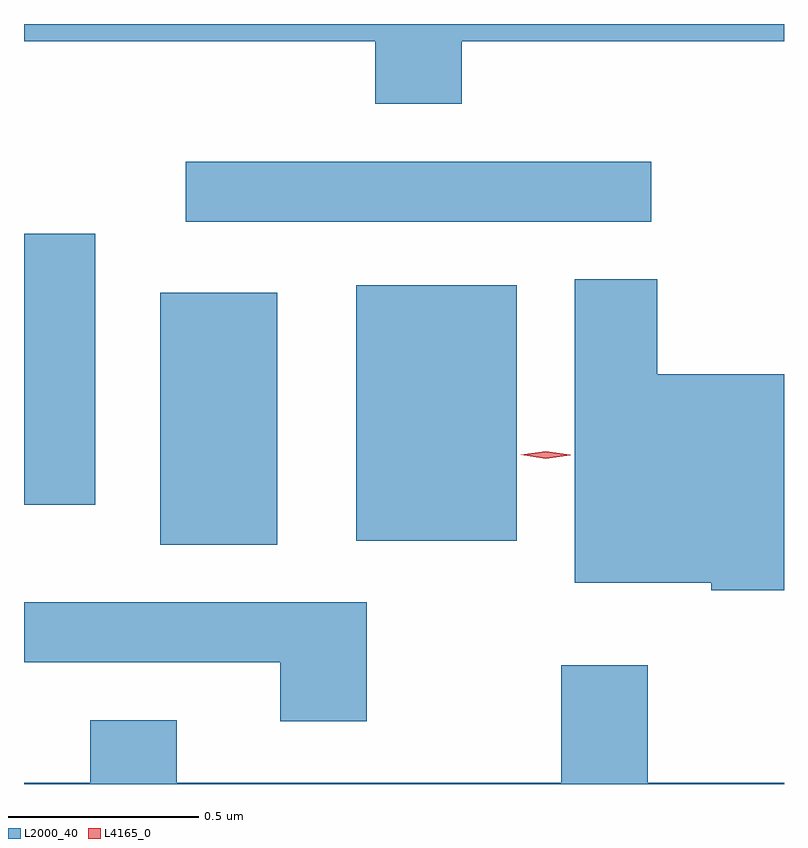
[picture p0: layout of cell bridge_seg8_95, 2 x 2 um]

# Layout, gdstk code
import gdstk
lib = gdstk.Library(unit=1e-6, precision=1e-09)
def R(c, l, rs):  # rectangles x0, y0, x1, y1
    for r in rs: c.add(gdstk.rectangle(r[:2], r[2:], *l))
def P(c, l, *ps):  # polygons
    for p in ps: c.add(gdstk.Polygon(p, *l))
L2000_40 = (2000, 40)
L4165_0 = (4165, 0)

bridge_seg8_95 = lib.new_cell('bridge_seg8_95')
R(bridge_seg8_95, L2000_40, [(1580.966,1870.611,1581.274,1871.274), (1581.481,1870.621,1581.904,1871.294), (1580.607,1870.716,1580.794,1871.429), (1581.033,1871.461,1582.258,1871.619)])
P(bridge_seg8_95, L2000_40, [(1580.607,1871.936),(1581.531,1871.936),(1581.531,1871.771),(1581.759,1871.771),(1581.759,1871.936),(1582.607,1871.936),(1582.607,1871.981),(1580.607,1871.981)],
  [(1582.607,1871.059),(1582.274,1871.059),(1582.274,1871.309),(1582.056,1871.309),(1582.056,1870.511),(1582.416,1870.511),(1582.416,1870.491),(1582.607,1870.491)],
  [(1581.509,1870.459),(1580.607,1870.459),(1580.607,1870.301),(1581.281,1870.301),(1581.281,1870.146),(1581.509,1870.146)],
  [(1582.607,1869.984),(1582.249,1869.984),(1582.249,1870.294),(1582.021,1870.294),(1582.021,1869.984),(1581.009,1869.984),(1581.009,1870.149),(1580.781,1870.149),(1580.781,1869.984),(1580.607,1869.984),(1580.607,1869.981),(1582.607,1869.981)])
P(bridge_seg8_95, L4165_0, [(1581.98,1870.837),(1581.914,1870.847),(1581.914,1870.847),(1581.914,1870.848),(1581.98,1870.857),(1582.045,1870.847),(1582.046,1870.846),(1582.045,1870.846)])

lib.write_gds('bridge_seg8_95.gds')
